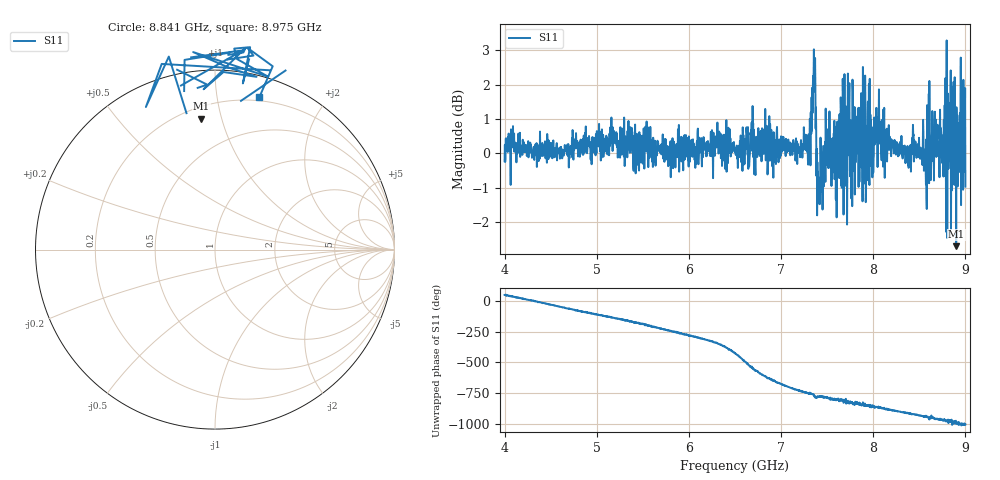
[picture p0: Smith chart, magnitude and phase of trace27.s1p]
! Created with skrf 1.8.0 (http://scikit-rf.org).
# Hz S RI R 50.0
!freq ReS11 ImS11
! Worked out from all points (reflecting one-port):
!   1601 points, 4 GHz to 9 GHz, reference 50 ohm
!   lowest |S11| = -2.7 dB at 8.9 GHz (marker M1), VSWR 6.50, Z = 13.7 + j43.2 ohm
!   phase of S11 starts at 49 deg and turns -1052 deg over the sweep
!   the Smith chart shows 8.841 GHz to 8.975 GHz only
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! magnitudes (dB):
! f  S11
! 4 GHz  -0.2
! 4.094 GHz  0.3
! 4.625 GHz  -0.1
! 5.25 GHz  0.1
! 5.875 GHz  0.1
! 6.5 GHz  0.1
! 7.125 GHz  0.2
! 7.294 GHz  -0.3
! 7.356 GHz  3.0
! 7.409 GHz  -0.7
! 7.509 GHz  -0.4
! 7.578 GHz  0.9
! 7.688 GHz  2.3
! 7.697 GHz  0.3
! 7.75 GHz  -0.7
! 7.784 GHz  0.3
! 7.928 GHz  0.8
! 7.981 GHz  -0.4
! 8.05 GHz  0.6
! 8.375 GHz  -0.2
! 8.441 GHz  -0.2
! 8.575 GHz  0.4
! 8.666 GHz  0.1
! 8.766 GHz  1.0
! 8.834 GHz  1.2
! 8.9 GHz  -2.7
! 8.972 GHz  0.6
! 9 GHz  -1.0
